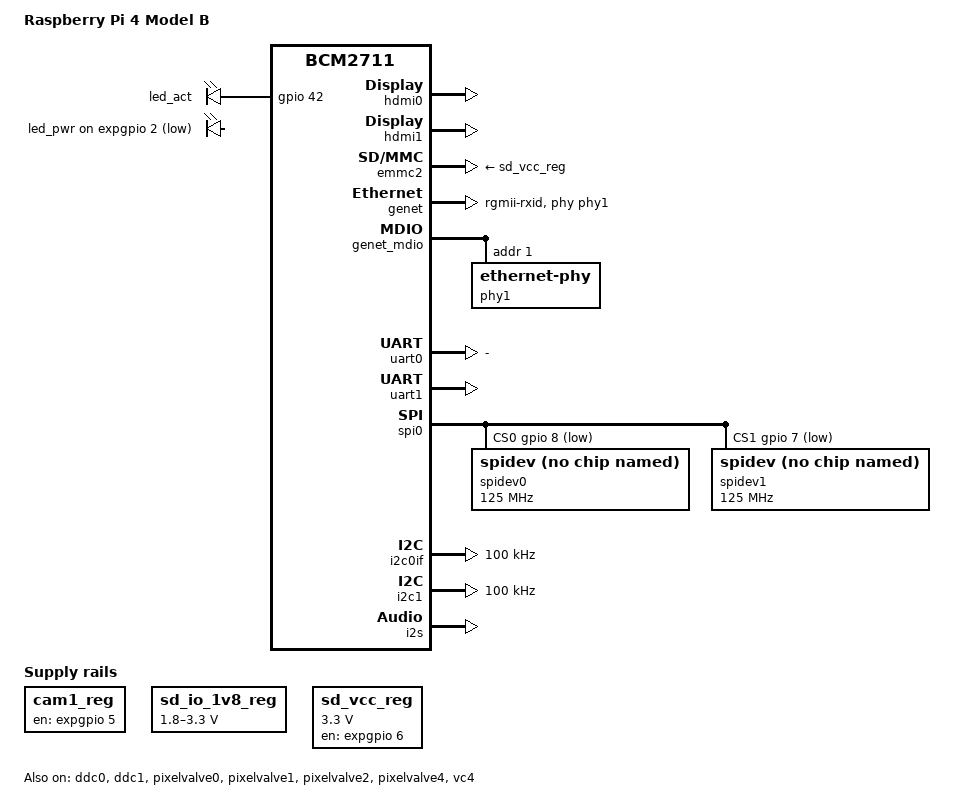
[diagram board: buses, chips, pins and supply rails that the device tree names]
// SPDX-License-Identifier: GPL-2.0
/dts-v1/;

#include "bcm2711.dtsi"
#include "bcm2711-rpi.dtsi"
#include "bcm283x-rpi-csi1-2lane.dtsi"
#include "bcm283x-rpi-i2c0mux_0_44.dtsi"
#include "bcm271x-rpi-bt.dtsi"
#include <dt-bindings/leds/common.h>
#include <dt-bindings/gpio/gpio.h>
#include <dt-bindings/pinctrl/bcm2835.h>
#include <dt-bindings/reset/raspberrypi,firmware-reset.h>

/ {
	compatible = "raspberrypi,4-model-b", "brcm,bcm2711";
	model = "Raspberry Pi 4 Model B";

	chosen {
		/* 8250 auxiliary UART instead of pl011 */
		stdout-path = "serial1:115200n8";
	};

	/* Duplicate node cleanup */
	/delete-node/ wifi-pwrseq;

	/* Fixed regulators */
	cam1_reg: regulator-cam1 {
		compatible = "regulator-fixed";
		regulator-name = "cam1-reg";
		enable-active-high;
		gpio = <&expgpio 5 GPIO_ACTIVE_HIGH>;
		status = "okay";
	};

	sd_io_1v8_reg: regulator-sd-io-1v8 {
		compatible = "regulator-gpio";
		regulator-name = "vdd-sd-io";
		regulator-min-microvolt = <1800000>;
		regulator-max-microvolt = <3300000>;
		regulator-boot-on;
		regulator-always-on;
		regulator-settling-time-us = <5000>;
		gpios = <&expgpio 4 GPIO_ACTIVE_HIGH>;
		states = <1800000 0x1>,
			 <3300000 0x0>;
		status = "okay";
	};

	sd_vcc_reg: regulator-sd-vcc {
		compatible = "regulator-fixed";
		regulator-name = "vcc-sd";
		regulator-min-microvolt = <3300000>;
		regulator-max-microvolt = <3300000>;
		regulator-boot-on;
		enable-active-high;
		gpio = <&expgpio 6 GPIO_ACTIVE_HIGH>;
		status = "okay";
	};
};

&bt {
	shutdown-gpios = <&expgpio 0 GPIO_ACTIVE_HIGH>;
};

&ddc0 {
	status = "okay";
};

&ddc1 {
	status = "okay";
};

&expgpio {
	gpio-line-names = "BT_ON",		/*  0 */
			  "WL_ON",
			  "PWR_LED_OFF",
			  "GLOBAL_RESET",
			  "VDD_SD_IO_SEL",
			  "CAM_GPIO",		/*  5 */
			  "SD_PWR_ON",
			  "SD_OC_N";
};

&gpio {
	gpio-line-names = "ID_SDA",		/*  0 */
			  "ID_SCL",
			  "GPIO2",
			  "GPIO3",
			  "GPIO4",
			  "GPIO5",		/*  5 */
			  "GPIO6",
			  "GPIO7",
			  "GPIO8",
			  "GPIO9",
			  "GPIO10",		/* 10 */
			  "GPIO11",
			  "GPIO12",
			  "GPIO13",
			  "GPIO14",
			  "GPIO15",		/* 15 */
			  "GPIO16",
			  "GPIO17",
			  "GPIO18",
			  "GPIO19",
			  "GPIO20",		/* 20 */
			  "GPIO21",
			  "GPIO22",
			  "GPIO23",
			  "GPIO24",
			  "GPIO25",		/* 25 */
			  "GPIO26",
			  "GPIO27",
			  "RGMII_MDIO",
			  "RGMIO_MDC",
			  "CTS0",		/* 30: Used by BT */
			  "RTS0",
			  "TXD0",
			  "RXD0",
			  "SD1_CLK",
			  "SD1_CMD",		/* 35: Used by Wifi */
			  "SD1_DATA0",
			  "SD1_DATA1",
			  "SD1_DATA2",
			  "SD1_DATA3",
			  "PWM0_MISO",		/* 40: Shared with SPI flash */
			  "PWM1_MOSI",
			  "STATUS_LED_G_CLK",
			  "SPIFLASH_CE_N",
			  "SDA0",
			  "SCL0",		/* 45 */
			  "RGMII_RXCLK",
			  "RGMII_RXCTL",
			  "RGMII_RXD0",
			  "RGMII_RXD1",
			  "RGMII_RXD2",		/* 50 */
			  "RGMII_RXD3",
			  "RGMII_TXCLK",
			  "RGMII_TXCTL",
			  "RGMII_TXD0",
			  "RGMII_TXD1",		/* 55 */
			  "RGMII_TXD2",
			  "RGMII_TXD3";

	uart0_pins: uart0_pins {
		brcm,pins = <32 33>;
		brcm,function = <BCM2835_FSEL_ALT3>;
		brcm,pull = <BCM2835_PUD_OFF BCM2835_PUD_UP>;
	};

	uart1_bt_pins: uart1_bt_pins {
		brcm,pins = <32 33 30 31>;
		brcm,function = <BCM2835_FSEL_ALT5>;
		brcm,pull = <BCM2835_PUD_OFF BCM2835_PUD_UP BCM2835_PUD_UP BCM2835_PUD_OFF>;
	};

	audio_pins: audio_pins {
		brcm,pins = <40 41>;
		brcm,function = <BCM2835_FSEL_ALT0>;
		brcm,pull = <BCM2835_PUD_OFF>;
	};

	bt_pins: bt_pins {
		brcm,pins = "-";
		brcm,function = <BCM2835_FSEL_GPIO_IN>;
		brcm,pull = <BCM2835_PUD_UP>;
	};
};

&hdmi0 { status = "okay"; };
&hdmi1 { status = "okay"; };

&led_act {
	gpios = <&gpio 42 GPIO_ACTIVE_HIGH>;
	linux,default-trigger = "mmc0";
	default-state = "off";
};

&led_pwr {
	gpios = <&expgpio 2 GPIO_ACTIVE_LOW>;
	default-state = "off";
};

&pixelvalve0 { status = "okay"; };
&pixelvalve1 { status = "okay"; };
&pixelvalve2 { status = "okay"; };
&pixelvalve4 { status = "okay"; };

&emmc2 {
	vqmmc-supply = <&sd_io_1v8_reg>;
	vmmc-supply = <&sd_vcc_reg>;
	broken-cd;
	status = "okay";
};

&genet {
	phy-handle = <&phy1>;
	phy-mode = "rgmii-rxid";
	status = "okay";
};

&genet_mdio {
	phy1: ethernet-phy@1 {
		reg = <0x1>;
		led-modes = <0x00 0x08>;
	};
};

&pcie0 {
	pci@0,0 {
		device_type = "pci";
		#address-cells = <3>;
		#size-cells = <2>;
		ranges;
		reg = <0 0 0 0 0>;

		usb@0,0 {
			reg = <0 0 0 0 0>;
			resets = <&reset RASPBERRYPI_FIRMWARE_RESET_ID_USB>;
		};
	};
};

&uart0 {
	pinctrl-names = "default";
	pinctrl-0 = <&uart0_pins &bt_pins>;
	status = "okay";
};

&uart1 {
	pinctrl-names = "default";
	pinctrl-0 = <&uart1_pins>;
	status = "okay";
};

&spi0 {
	pinctrl-names = "default";
	pinctrl-0 = <&spi0_pins &spi0_cs_pins>;
	cs-gpios = <&gpio 8 GPIO_ACTIVE_LOW>, <&gpio 7 GPIO_ACTIVE_LOW>;
	status = "okay";

	spidev0: spidev@0 {
		compatible = "spidev";
		reg = <0>;
		spi-max-frequency = <125000000>;
	};

	spidev1: spidev@1 {
		compatible = "spidev";
		reg = <1>;
		spi-max-frequency = <125000000>;
	};
};

&i2c0if {
	clock-frequency = <100000>;
};

&i2c1 {
	pinctrl-names = "default";
	pinctrl-0 = <&i2c1_pins>;
	clock-frequency = <100000>;
	status = "okay";
};

&i2s {
	pinctrl-names = "default";
	pinctrl-0 = <&i2s_pins>;
	status = "okay";
};

&vc4 { status = "okay"; };
&vec { status = "disabled"; };
&sdhost { status = "disabled"; };
&pwm1 { status = "disabled"; };
